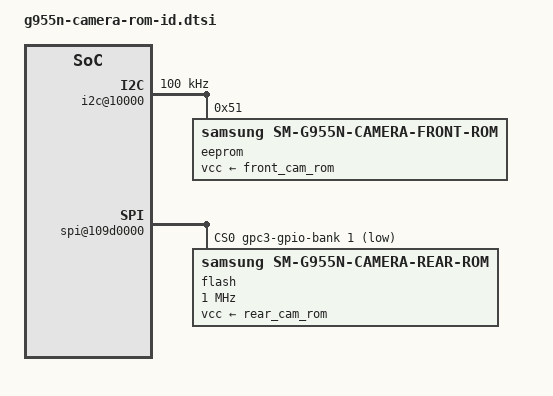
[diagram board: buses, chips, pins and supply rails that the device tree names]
// SPDX-License-Identifier: GPL-2.0-only

#include <dt-bindings/gpio/gpio.h>
#include <dt-bindings/soc/samsung,exynos-usi.h>

&{/soc@0/usi@10900000/i2c@0/torch@59} {
	regulators {
		front_cam_rom: ldo6 {
			regulator-name = "camera-front-rom-1v8";
			regulator-min-microvolt = <1800000>;
			regulator-max-microvolt = <1800000>;
		};

		rear_cam_rom: ldo17 {
			regulator-name = "camera-rear-rom-1v8";
			regulator-min-microvolt = <1800000>;
			regulator-max-microvolt = <1800000>;
		};
	};
};

&{/soc@0/usi@10920000} {
	samsung,mode = <USI_MODE_I2C1>;
	status = "okay";
};

&{/soc@0/usi@10920000/i2c@10000} {
	#address-cells = <1>;
	#size-cells = <0>;
	clock-frequency = <100000>;
	status = "okay";

	eeprom@51 {
		compatible = "samsung,sm-g955n-camera-front-rom";
		reg = <0x51>;
		vcc-supply = <&front_cam_rom>;
	};
};

&{/soc@0/spi@109d0000} {
	pinctrl-0 = <&{/soc@0/pinctrl@10980000/spi0-bus-pins}
		     &{/soc@0/pinctrl@10980000/spi0-cs-pins}>;
	cs-gpios = <&{/soc@0/pinctrl@10980000/gpc3-gpio-bank} 1 GPIO_ACTIVE_LOW>;
	status = "okay";

	flash@0 {
		compatible = "samsung,sm-g955n-camera-rear-rom";
		reg = <0>;
		spi-max-frequency = <1000000>;
		vcc-supply = <&rear_cam_rom>;
	};
};
